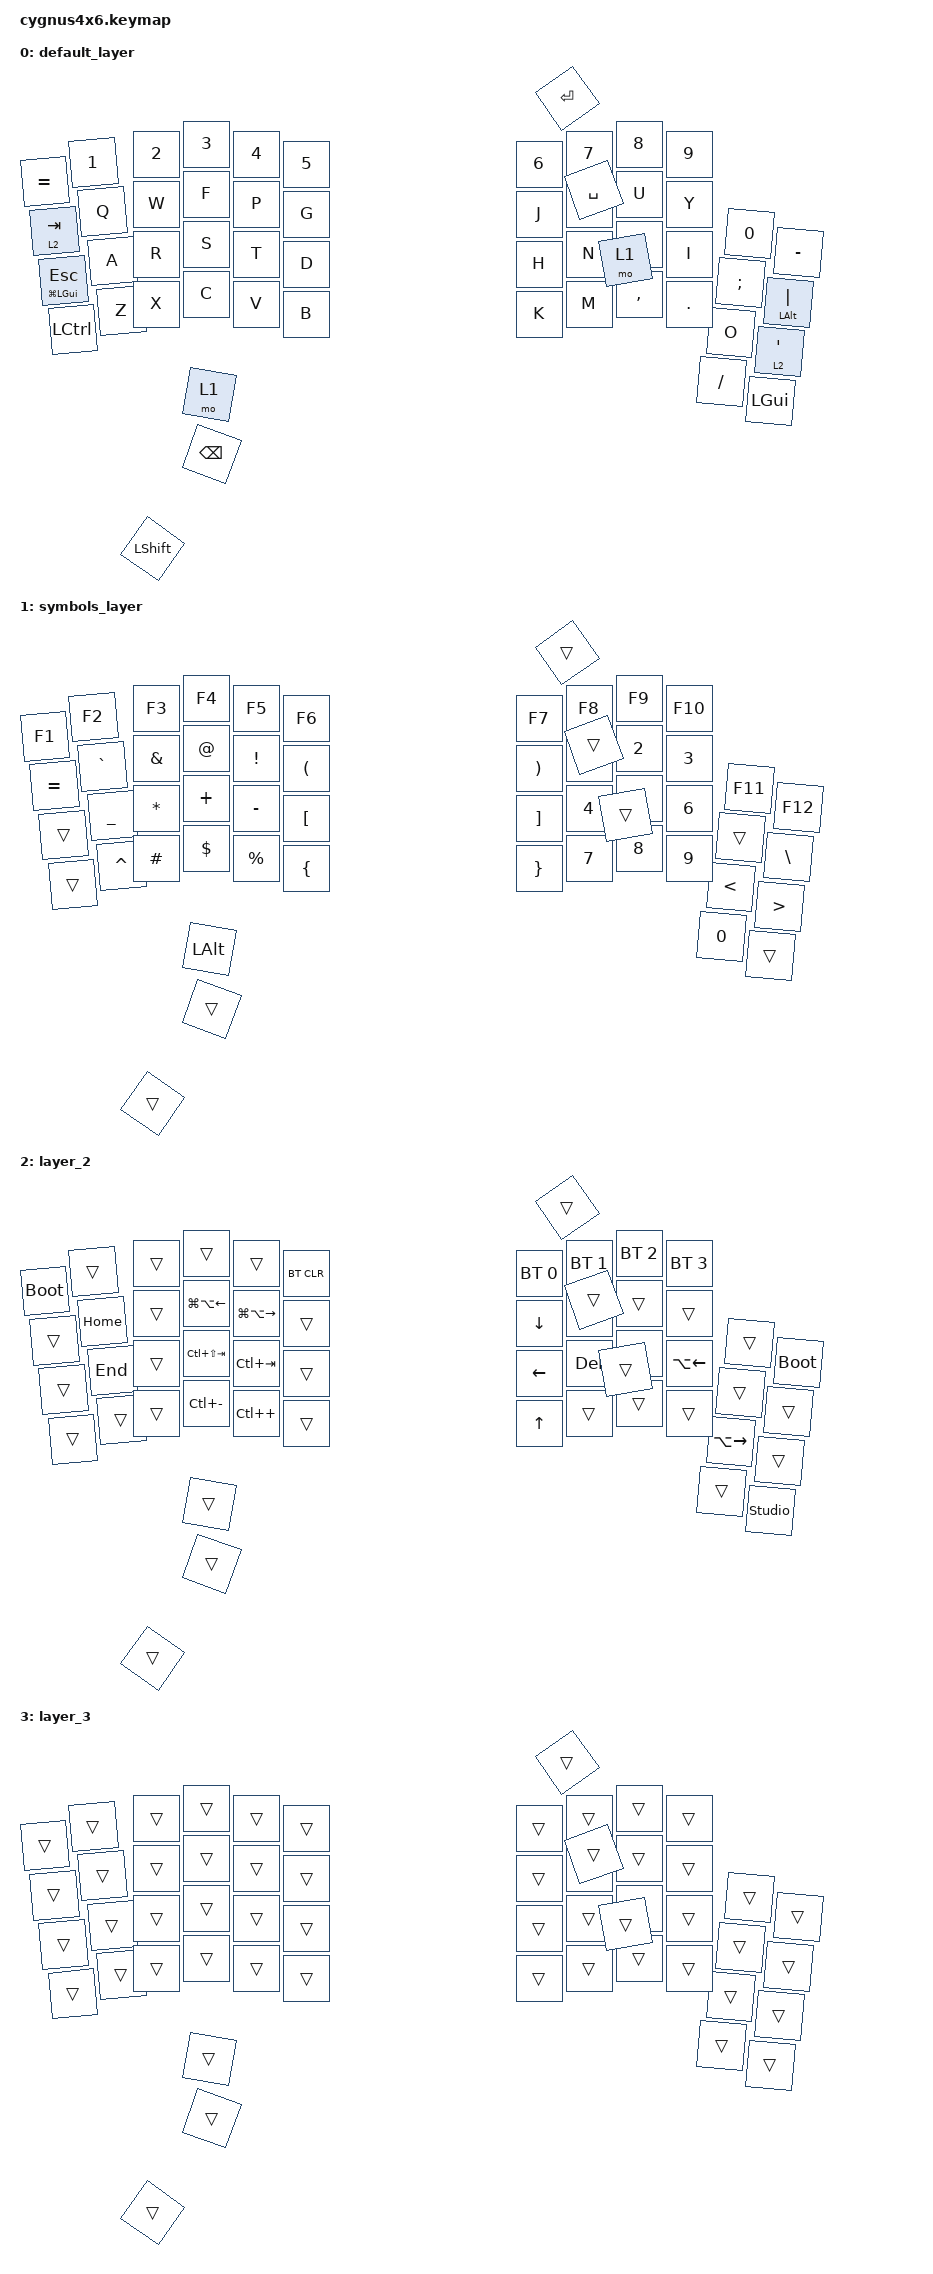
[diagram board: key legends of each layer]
// This file was generated from a template. Edit it to match your keyboard.
// See https://zmk.dev/docs/development/hardware-integration/new-shield for more instructions.

#include <behaviors.dtsi>
#include <dt-bindings/zmk/bt.h>
#include <dt-bindings/zmk/keys.h>

/ {
    // Define a default keymap here.
    // See https://zmk.dev/docs/development/hardware-integration/new-shield#default-keymap.

    keymap {
        compatible = "zmk,keymap";

        default_layer {
            //-----------------------------------------------------------------------------------------------
            //  ESC |   1   |   2   |   3   |   4   |   5   |   6   |   7   |   8   |   9   |   0   |   -   |
            //  TAB |   Q   |   W   |   E   |   R   |   T   |   Y   |   U   |   I   |   O   |   P   |   [   |
            // SHIFT|   A   |   S   |   D   |   F   |   G   |   H   |   J   |   K   |   L   |   ;   |   '   |
            //  CTL |   Z   |   X   |   C   |   V   |   B   |   N   |   M   |   ,   |   .   |   /   | SHIFT |
            //                      | SUPER | SYMBL | ENTER |  ALT  | SPACE | BKSPCE|

            bindings = <
&kp EQUAL  &kp N1  &kp N2  &kp N3  &kp N4  &kp N5  &kp N6  &kp N7  &kp N8  &kp N9  &kp N0  &kp MINUS  &lt 2 TAB  &kp Q  &kp W  &kp F  &kp P  &kp G  &kp J  &kp L  &kp U  &kp Y  &kp SEMICOLON  &mt LALT PIPE  &mt LG(LEFT_GUI) ESCAPE  &kp A  &kp R  &kp S  &kp T  &kp D  &kp H  &kp N  &kp E  &kp I  &kp O  &lt 2 SQT  &kp LCTRL  &kp Z  &kp X  &kp C  &kp V  &kp B  &kp K  &kp M  &kp COMMA  &kp DOT  &kp SLASH  &kp LGUI  &mo 1  &kp BACKSPACE  &kp LEFT_SHIFT  &kp ENTER  &kp SPACE  &mo 1
            >;
        };

        // This is my personal symbol layer for a german QWERTZ layout

        symbols_layer {
            //-----------------------------------------------------------------------------------------------
            //   F1 |   F2  |   F3  |   F4  |   F5  |   F6  |   F7  |   F8  |  F9   |  F10  |  F11  |  F12  |
            // BT 0 |  BT 1 |  HOME |   UP  |  END  | PG_UP |  +/*  |   {   |   }   |       |       | BTCLR |
            //      |  BT 2 |  LEFT |  DOWN | RIGHT | PG_DN |  #/'  |   (   |   )   |       |       |       |
            //      |   |   |       |   <   |   >   |       |  ^/°   |   [   |   ]   |       |       |STIOULK|
            //                      |       |       |       |  RALT |       |  DEL  |

            bindings = <
&kp F1  &kp F2  &kp F3  &kp F4  &kp F5  &kp F6  &kp F7  &kp F8  &kp F9  &kp F10  &kp F11  &kp F12  &kp EQUAL  &kp GRAVE  &kp AMPERSAND  &kp AT_SIGN  &kp EXCLAMATION  &kp LEFT_PARENTHESIS  &kp RIGHT_PARENTHESIS  &kp N1  &kp N2  &kp N3  &trans  &kp BACKSLASH  &trans  &kp UNDER  &kp ASTERISK  &kp PLUS  &kp MINUS  &kp LEFT_BRACKET  &kp RIGHT_BRACKET  &kp N4  &kp N5  &kp N6  &kp LESS_THAN  &kp GREATER_THAN  &trans  &kp CARET  &kp HASH  &kp DOLLAR  &kp PERCENT  &kp LEFT_BRACE  &kp RIGHT_BRACE  &kp N7  &kp N8  &kp N9  &kp N0  &trans  &kp LEFT_ALT  &trans  &trans  &trans  &trans  &trans
            >;
        };

        layer_2 {
            bindings = <
&bootloader  &trans  &trans  &trans  &trans  &bt BT_CLR  &bt BT_SEL 0  &bt BT_SEL 1  &bt BT_SEL 2  &bt BT_SEL 3  &trans  &bootloader  &trans  &kp HOME  &trans  &kp LG(LA(LEFT))  &kp LG(LA(RIGHT))  &trans  &kp DOWN  &kp RIGHT  &trans  &trans  &trans  &trans  &trans  &kp END  &trans  &kp LC(LS(TAB))  &kp LC(TAB)  &trans  &kp LEFT  &kp DELETE  &trans  &kp LA(LEFT)  &kp LA(RIGHT)  &trans  &trans  &trans  &trans  &kp LC(MINUS)  &kp LC(PLUS)  &trans  &kp UP_ARROW  &trans  &trans  &trans  &trans  &studio_unlock  &trans  &trans  &trans  &trans  &trans  &trans
            >;
        };

        layer_3 {
            bindings = <
&trans  &trans  &trans  &trans  &trans  &trans  &trans  &trans  &trans  &trans  &trans  &trans  &trans  &trans  &trans  &trans  &trans  &trans  &trans  &trans  &trans  &trans  &trans  &trans  &trans  &trans  &trans  &trans  &trans  &trans  &trans  &trans  &trans  &trans  &trans  &trans  &trans  &trans  &trans  &trans  &trans  &trans  &trans  &trans  &trans  &trans  &trans  &trans  &trans  &trans  &trans  &trans  &trans  &trans
            >;
        };
    };
};
